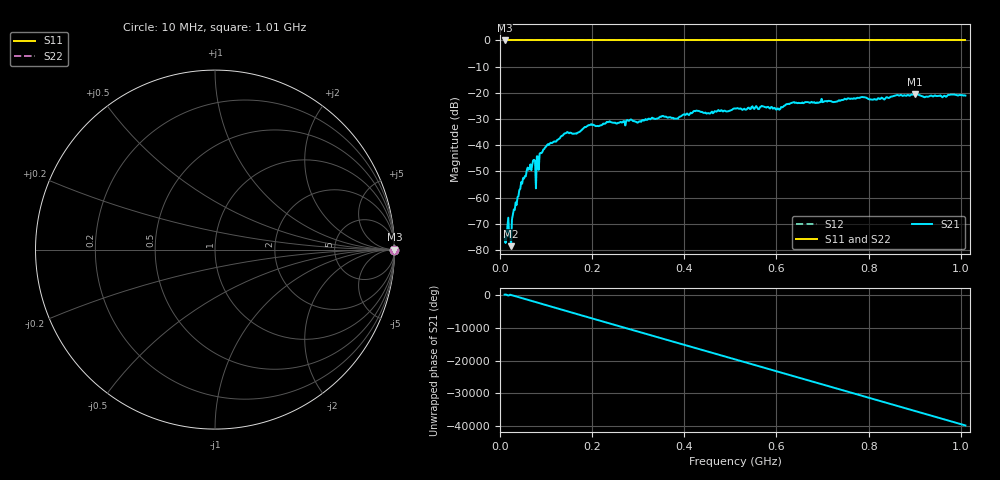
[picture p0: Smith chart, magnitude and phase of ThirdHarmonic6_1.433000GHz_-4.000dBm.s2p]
! 8/16/2025 4:31:48 PM
! C:\ANRITSUVNA\TEMP\TEMP.S2P
! CHANNEL.1
! TR.MEASUREMENT
! RAW.DATA
! RF.CORRECTION.OFF
! AVERAGING.OFF
! IF.BANDWIDTH: 5KHZ
! SWEEPTYPE:  FREQ.SWEEP(Linear)
! Reference Plane Port Info
! PORT:  PORT1  PORT2
! DISTANCE:  0  m  0  m
! TIME:  0  s  0  s
! PHASE.OFFSET:  0  deg.  0  deg.
! LOSS:  0  dB  0  dB
! REF.LOSS:  0  dB  0  dB
! REF.FREQ:  0  Hz  0  Hz
! Power Info
! POWER:  -20  dBm  -20  dBm
! EFF.POWER:  -20  dBm  -20  dBm
! SOURCE.ATTEN:  0  dB  0  dB
! TEST.ATTEN:  0  dB  0  dB
# GHZ S RI R 50.0
! FREQ.GHZ  S11RE  S11IM  S21RE  S21IM  S12RE  S12IM  S22RE  S22IM
!; PortSelection: Port_12
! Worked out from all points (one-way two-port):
!   501 points, 10 MHz to 1.01 GHz, reference 50 ohm
!   highest |S21| = -20.59 dB at 900 MHz (marker M1); lowest = -78.5 dB at 24 MHz (marker M2)
!   lowest |S11| = 0.0 dB at 10 MHz (marker M3)
!   |S11| at or under -10 dB: nowhere
!   |S22| runs from 0.0 to 0.0 dB; largest |S21 - S12| = 1.1
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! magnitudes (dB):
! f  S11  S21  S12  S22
! 10 MHz  0.0  -75.1  0.0  0.0
! 18 MHz  0.0  -67.7  0.0  0.0
! 24 MHz  0.0  -78.5  0.0  0.0
! 30 MHz  0.0  -64.5  0.0  0.0
! 42 MHz  0.0  -57.1  0.0  0.0
! 62 MHz  0.0  -49.4  0.0  0.0
! 72 MHz  0.0  -45.8  0.0  0.0
! 80 MHz  0.0  -44.2  0.0  0.0
! 90 MHz  0.0  -43.0  0.0  0.0
! 106 MHz  0.0  -39.9  0.0  0.0
! 142 MHz  0.0  -35.5  0.0  0.0
! 178 MHz  0.0  -34.0  0.0  0.0
! 236 MHz  0.0  -31.1  0.0  0.0
! 344 MHz  0.0  -29.7  0.0  0.0
! 382 MHz  0.0  -29.8  0.0  0.0
! 510 MHz  0.0  -26.0  0.0  0.0
! 604 MHz  0.0  -26.0  0.0  0.0
! 634 MHz  0.0  -23.8  0.0  0.0
! 678 MHz  0.0  -23.7  0.0  0.0
! 844 MHz  0.0  -22.0  0.0  0.0
! 900 MHz  0.0  -20.6  0.0  0.0
! 1.01 GHz  0.0  -21.0  0.0  0.0
